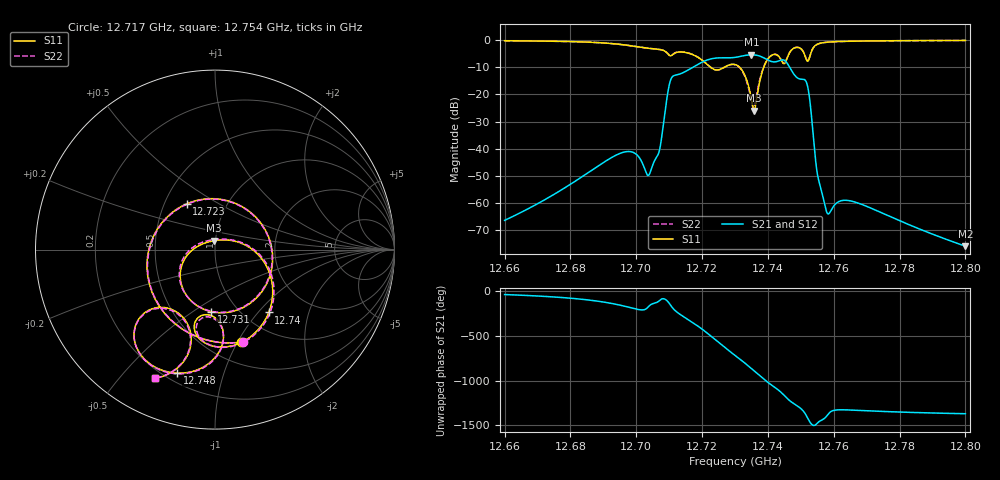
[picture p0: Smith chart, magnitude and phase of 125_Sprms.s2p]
! TOUCHSTONE file generated by CST MICROWAVE STUDIO
! Date and time: Wed Jul 31 17:06:12 2024
! Project name: WaveGuide_BPF-Ver4.1_U-shape_Ku_T3_C4_CWA_2.cst
! Parameters = {cavity_h=16; cavity_l0=10; cavity_l1=15.2264; cavity_l2=16.8757; cavity_l3=17.1068; cavity_l4=17.2505; cavity_l5=17.12; cavity_l6=17.6037; cavity_r=2.5; cavity_screw_l=0.5; cavity_screw_r=1.5; cavity_w=8; iris_h00=0; iris_h01=8.8418; iris_h112=0; iris_h12=5.589; iris_h211=3.6661; iri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
! Header version: 2018
! Port assignment regex: !\s*Touchstone port\s*([0-9]+)\s*=\s*(CST MWS port|CST DS port)\s*([0-9]+|Zmin|Zmax)\s*\(\"(.*)\"\)(\s*mode\s*([0-9]+))?.*
! Touchstone port assignment:
! Touchstone port 1 = CST MWS port 1 ("")
! Touchstone port 2 = CST MWS port 2 ("")
# GHz S RI R 50
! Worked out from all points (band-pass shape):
!   5001 points, 12.66 GHz to 12.8 GHz, reference 50 ohm
!   highest |S21| = -5.42 dB at 12.735 GHz (marker M1); lowest = -75.9 dB at 12.8 GHz (marker M2)
!   |S21| within 3 dB of the highest: 12.71952 GHz to 12.7458 GHz (26.28 MHz wide, 0.206 % of centre)
!   lowest |S11| = -26.0 dB at 12.736 GHz (marker M3), VSWR 1.11, Z = 48.9 + j4.84 ohm
!   |S11| at or under -10 dB: 12.72257 GHz to 12.72676 GHz (4.191 MHz wide, 0.0329 % of centre); 12.73142 GHz to 12.73874 GHz (7.319 MHz wide, 0.0575 % of centre)
!   |S22| runs from -25.0 to -0.1 dB; largest |S21 - S12| = 1e-09
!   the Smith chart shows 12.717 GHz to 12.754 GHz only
!   S11 on the Smith chart (normalised r, x): 12.717 GHz: 0.72, -1.03; 12.723 GHz: 0.65, +0.36; 12.731 GHz: 0.76, -0.59; 12.74 GHz: 1.28, -1.14; 12.748 GHz: 0.25, -0.71; 12.754 GHz: 0.16, -0.62
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12.66  0.5167 0.8248  0.000383 -0.000285  0.000383 -0.000285  0.5177 0.8243
12.68335  0.9187 0.121  4.96e-05 -0.00299  4.96e-05 -0.00299  0.9187 0.1223
12.69797  0.00104 -0.7926  -0.00885 0.000111  -0.00885 0.000111  -0.00527 -0.7908
12.70304  -0.6808 -0.2196  -0.00342 0.000951  -0.00342 0.000951  -0.6841 -0.2039
12.70668  -0.442 0.5114  -0.00336 -0.00714  -0.00336 -0.00714  -0.4299 0.5238
12.71057  0.2303 0.4602  -0.1849 -0.0556  -0.1849 -0.0556  0.2405 0.462
12.71729  0.145 -0.5154  0.3159 0.04  0.3159 0.04  0.1572 -0.5147
12.72311  -0.1585 0.2547  -0.4114 -0.1972  -0.4114 -0.1972  -0.1616 0.2505
12.7267  0.314 0.0194  -0.0597 0.4678  -0.0597 0.4678  0.3124 0.0155
12.73  0.0492 -0.3519  0.4798 0.0262  0.4798 0.0262  0.0357 -0.3495
12.7305  -0.0225 -0.3458  0.4768 -0.0928  0.4768 -0.0928  -0.0369 -0.3398
12.73501  -0.0752 0.029  -0.4403 -0.3054  -0.4403 -0.3054  -0.0581 0.0448
12.73582  -0.00832 0.0494  -0.5266 -0.0841  -0.5266 -0.0841  0.0108 0.0575
12.74014  0.2995 -0.3499  0.2336 0.354  0.2336 0.354  0.3083 -0.3466
12.74473  -0.06 -0.3635  0.1006 -0.4187  0.1006 -0.4187  -0.0537 -0.3756
12.74812  -0.2096 -0.6881  -0.2257 0.011  -0.2257 0.011  -0.2078 -0.6918
12.75167  -0.2984 -0.3215  0.1098 0.1275  0.1098 0.1275  -0.307 -0.327
12.75335  -0.173 -0.6209  0.0213 -0.026  0.0213 -0.026  -0.1743 -0.6185
12.75439  -0.3359 -0.7182  0.00387 -0.00578  0.00387 -0.00578  -0.3363 -0.7175
12.7582  -0.6885 -0.6052  0.000308 0.00055  0.000308 0.00055  -0.689 -0.6047
12.77668  -0.972 0.00725  -3.25e-05 0.000576  -3.25e-05 0.000576  -0.972 0.00978
12.8  -0.9091 0.3789  5.43e-05 0.00015  5.43e-05 0.00015  -0.9076 0.3823
